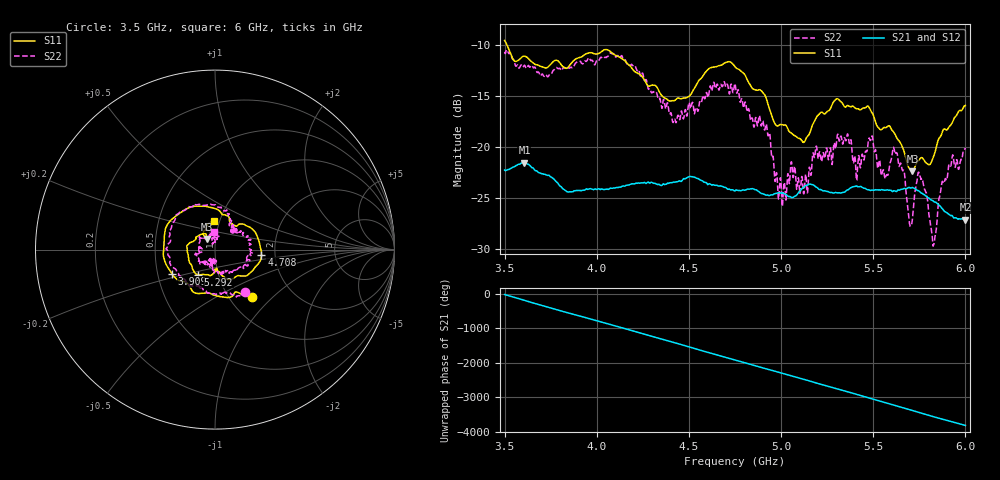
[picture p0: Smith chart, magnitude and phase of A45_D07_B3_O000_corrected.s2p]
! Created with skrf 1.9.0 (http://scikit-rf.org).
# Hz S RI R 50.0
!freq ReS11 ImS11 ReS21 ImS21 ReS12 ImS12 ReS22 ImS22
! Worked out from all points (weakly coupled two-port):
!   1601 points, 3.5 GHz to 6 GHz, reference 50 ohm
!   highest |S21| = -21.52 dB at 3.608 GHz (marker M1); lowest = -27.1 dB at 6 GHz (marker M2)
!   lowest |S11| = -22.4 dB at 5.713 GHz (marker M3), VSWR 1.16, Z = 45.2 + j5.4 ohm
!   |S11| at or under -10 dB: 3.513 GHz to end of sweep
!   |S22| runs from -29.7 to -10.5 dB; largest |S21 - S12| = 0.00095
!   S11 on the Smith chart (normalised r, x): 3.5 GHz: 1.27, -0.75; 3.909 GHz: 0.59, -0.17; 4.708 GHz: 1.69, -0.11; 5.292 GHz: 0.80, -0.23; 6 GHz: 0.94, +0.31
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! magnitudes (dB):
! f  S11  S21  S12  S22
! 3.5 GHz  -9.6  -22.3  -22.2  -10.7
! 3.608 GHz  -11.1  -21.5  -21.5  -12.0
! 3.909 GHz  -11.2  -24.3  -24.2  -11.6
! 3.917 GHz  -11.2  -24.3  -24.3  -11.8
! 4.141 GHz  -11.4  -23.8  -23.8  -11.3
! 4.334 GHz  -14.4  -23.7  -23.6  -15.2
! 4.422 GHz  -15.4  -23.4  -23.4  -17.3
! 4.708 GHz  -11.7  -24.1  -24.0  -13.9
! 4.75 GHz  -12.1  -24.3  -24.2  -13.8
! 4.928 GHz  -15.7  -24.7  -24.7  -18.8
! 4.997 GHz  -17.8  -24.5  -24.5  -23.0
! 5.167 GHz  -18.0  -23.7  -23.6  -21.8
! 5.292 GHz  -15.4  -24.5  -24.5  -19.8
! 5.419 GHz  -16.3  -23.9  -23.9  -21.1
! 5.486 GHz  -16.4  -24.3  -24.2  -19.3
! 5.584 GHz  -17.9  -24.2  -24.2  -22.4
! 5.62 GHz  -18.8  -24.3  -24.3  -20.7
! 5.713 GHz  -22.4  -24.0  -23.9  -27.1
! 5.755 GHz  -21.1  -24.4  -24.4  -22.9
! 5.831 GHz  -20.7  -25.4  -25.3  -29.2
! 5.878 GHz  -18.3  -26.1  -26.1  -23.4
! 6 GHz  -15.9  -27.1  -27.0  -20.1
